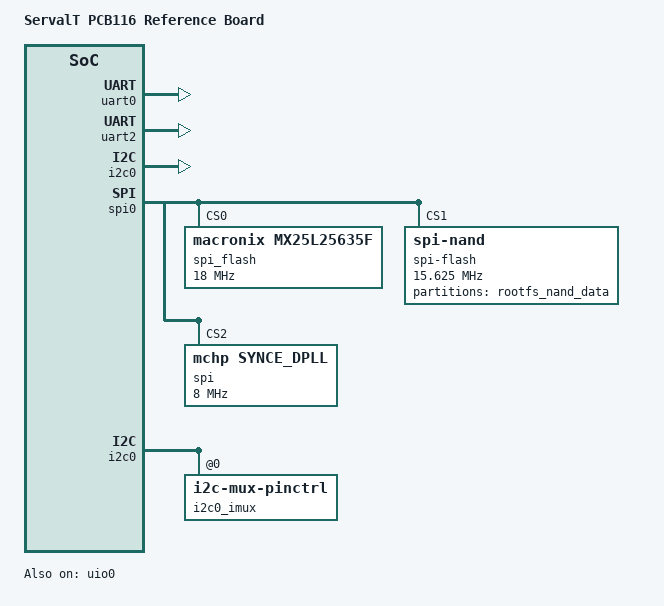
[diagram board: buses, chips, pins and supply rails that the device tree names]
// SPDX-License-Identifier: (GPL-2.0+ OR MIT)
/*
 * Copyright (c) 2018 Microsemi Corporation
 */

/dts-v1/;
#include "servalt.dtsi"

/ {
	model = "ServalT PCB116 Reference Board";
	compatible = "mscc,servalt-pcb116", "mscc,servalt";

	aliases {
		spi0 = &spi0;
		serial0 = &uart0;
		i2c0    = &i2c0;
		i2c100  = &i2c100;
		i2c101  = &i2c101;
		i2c102  = &i2c102;
		i2c103  = &i2c103;
		i2c104  = &i2c104;
		i2c105  = &i2c105;
		i2c106  = &i2c106;
		i2c107  = &i2c107;
	};

	chosen {
		stdout-path = "serial0:115200n8";
	};
};

&uart0 {
	status = "okay";
};

&uart2 {
	status = "okay";
};

&i2c0 {
	status = "okay";
	i2c-sda-hold-time-ns = <300>;
};

&uio0 {
	status = "okay";
};

&spi0 {
	status = "okay";
	spi-flash@0 {
		label = "spi_flash";
		compatible = "macronix,mx25l25635f", "jedec,spi-nor";
		spi-max-frequency = <18000000>; /* input clock */
		reg = <0>; /* CS0 */
	};
	spi-flash@1 {
		compatible = "spi-nand";
		pinctrl-0 = <&cs1_pins>;
		pinctrl-names = "default";
		spi-max-frequency = <15625000>;
		reg = <1>; /* CS1 */
		nand-use-soft-ecc-engine;
		nand-ecc-algo = "hamming";
		partitions {
			compatible = "fixed-partitions";
			#address-cells = <1>;
			#size-cells = <1>;
			/* 256MiB */
			partition@0 {
				    label = "rootfs_nand_data";
				    reg = <0x0000000 0x10000000>;
			};
		};
	};
	// CPLD for Synce CPLD
	spi@2 {
		compatible = "mchp,synce_dpll";
		reg = <2>; /* CS2 */
		pinctrl-0 = <&synce_dpll_pins>;
		pinctrl-names = "default";
		spi-max-frequency = <8000000>;
	};
};

&gpio {
	synce_dpll_pins: synce-dpll-pins {
		// GPIO 9 == SI_nCS2
		pins = "GPIO_9";
		function = "si";
	};
	i2c_pins: i2c-pins {
		/* SCL (GPIO_25) always muxed */
		pins = "GPIO_24";
		function = "twi";
	};
	i2cmux_pins_i: i2cmux-pins-i {
		pins = "GPIO_25", "GPIO_26", "GPIO_27", "GPIO_28",
		       "GPIO_29", "GPIO_30", "GPIO_31", "GPIO_32";
		function = "twi_scl_m";
		output-low;
	};
	i2cmux_0: i2cmux-0 {
		pins = "GPIO_25";
		function = "twi_scl_m";
		output-high;
	};
	i2cmux_1: i2cmux-1 {
		pins = "GPIO_26";
		function = "twi_scl_m";
		output-high;
	};
	i2cmux_2: i2cmux-2 {
		pins = "GPIO_27";
		function = "twi_scl_m";
		output-high;
	};
	i2cmux_3: i2cmux-3 {
		pins = "GPIO_28";
		function = "twi_scl_m";
		output-high;
	};
	i2cmux_4: i2cmux-4 {
		pins = "GPIO_29";
		function = "twi_scl_m";
		output-high;
	};
	i2cmux_5: i2cmux-5 {
		pins = "GPIO_30";
		function = "twi_scl_m";
		output-high;
	};
	i2cmux_6: i2cmux-6 {
		pins = "GPIO_31";
		function = "twi_scl_m";
		output-high;
	};
	i2cmux_7: i2cmux-7 {
		pins = "GPIO_32";
		function = "twi_scl_m";
		output-high;
	};
	irqext0_pins: irqext0-pins {
		pins = "GPIO_4";
		function = "irq0_in";
	};
};

&ahb {
	i2c0_imux: i2c0-imux@0 {
		compatible = "i2c-mux-pinctrl";
		#address-cells = <1>;
		#size-cells = <0>;
		i2c-parent = <&i2c0>;
		pinctrl-names =
			"i2c100", "i2c101", "i2c102", "i2c103",
			"i2c104", "i2c105", "i2c106", "i2c107",
			"idle";
		pinctrl-0 = <&i2cmux_0>;
		pinctrl-1 = <&i2cmux_1>;
		pinctrl-2 = <&i2cmux_2>;
		pinctrl-3 = <&i2cmux_3>;
		pinctrl-4 = <&i2cmux_4>;
		pinctrl-5 = <&i2cmux_5>;
		pinctrl-6 = <&i2cmux_6>;
		pinctrl-7 = <&i2cmux_7>;
		pinctrl-8 = <&i2cmux_pins_i>;
		i2c100: i2c_sfp0 {
			reg = <0>;
			#address-cells = <1>;
			#size-cells = <0>;
		};
		i2c101: i2c_sfp1 {
			reg = <1>;
			#address-cells = <1>;
			#size-cells = <0>;
		};
		i2c102: i2c_sfp2 {
			reg = <2>;
			#address-cells = <1>;
			#size-cells = <0>;
		};
		i2c103: i2c_sfp3 {
			reg = <3>;
			#address-cells = <1>;
			#size-cells = <0>;
		};
		i2c104: i2c_sfp4 {
			reg = <4>;
			#address-cells = <1>;
			#size-cells = <0>;
		};
		i2c105: i2c_sfp5 {
			reg = <5>;
			#address-cells = <1>;
			#size-cells = <0>;
		};
		i2c106: i2c_sfp6 {
			reg = <6>;
			#address-cells = <1>;
			#size-cells = <0>;
		};
		i2c107: i2c_sfp7 {
			reg = <7>;
			#address-cells = <1>;
			#size-cells = <0>;
		};
	};
	dying_gasp: dying_gasp@0 {
		compatible = "mscc,dying-gasp";
		interrupts = <1>;
		pinctrl-0 = <&irqext0_pins>;
		pinctrl-names = "ext0_irq";
	};
};
